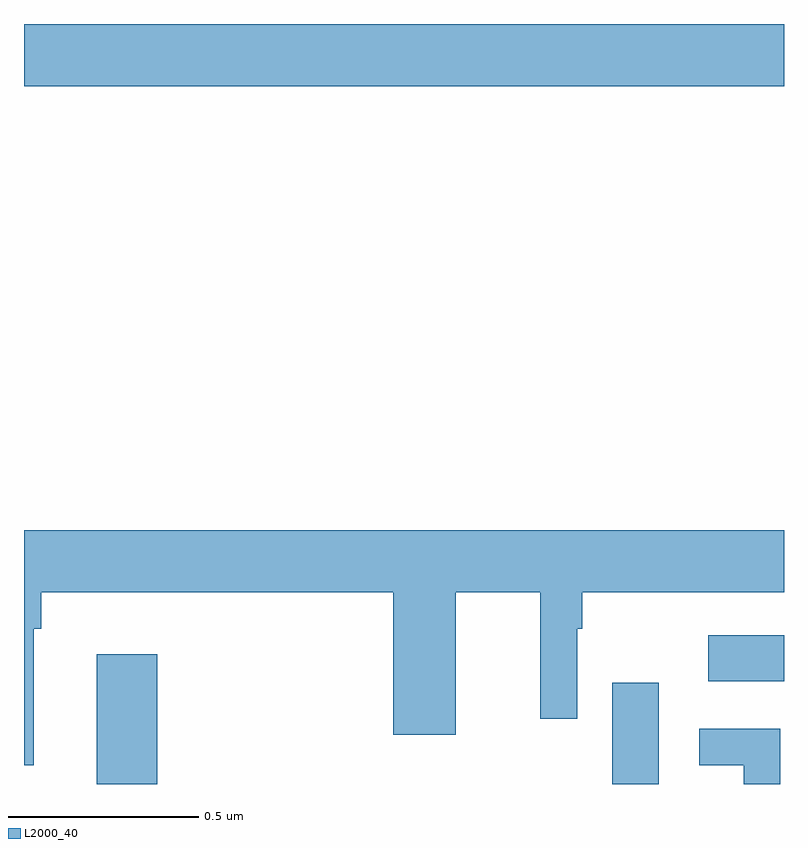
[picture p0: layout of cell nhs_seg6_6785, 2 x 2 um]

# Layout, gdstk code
import gdstk
lib = gdstk.Library(unit=1e-6, precision=1e-09)
def R(c, l, rs):  # rectangles x0, y0, x1, y1
    for r in rs: c.add(gdstk.rectangle(r[:2], r[2:], *l))
def P(c, l, *ps):  # polygons
    for p in ps: c.add(gdstk.Polygon(p, *l))
L2000_40 = (2000, 40)

nhs_seg6_6785 = lib.new_cell('nhs_seg6_6785')
R(nhs_seg6_6785, L2000_40, [(200.192,945.5,200.351,945.841), (201.548,945.5,201.67,945.766), (201.801,945.77,202,945.892), (200,947.336,202,947.5)])
P(nhs_seg6_6785, L2000_40, [(200.026,945.908),(200.045,945.908),(200.045,946.004),(200.972,946.004),(200.972,945.63),(201.136,945.63),(201.136,946.004),(201.358,946.004),(201.358,945.672),(201.456,945.672),(201.456,945.908),(201.469,945.908),(201.469,946.004),(202,946.004),(202,946.168),(200,946.168),(200,945.549),(200.026,945.549)],
  [(201.99,945.645),(201.777,945.645),(201.777,945.549),(201.894,945.549),(201.894,945.5),(201.99,945.5)])

lib.write_gds('nhs_seg6_6785.gds')
